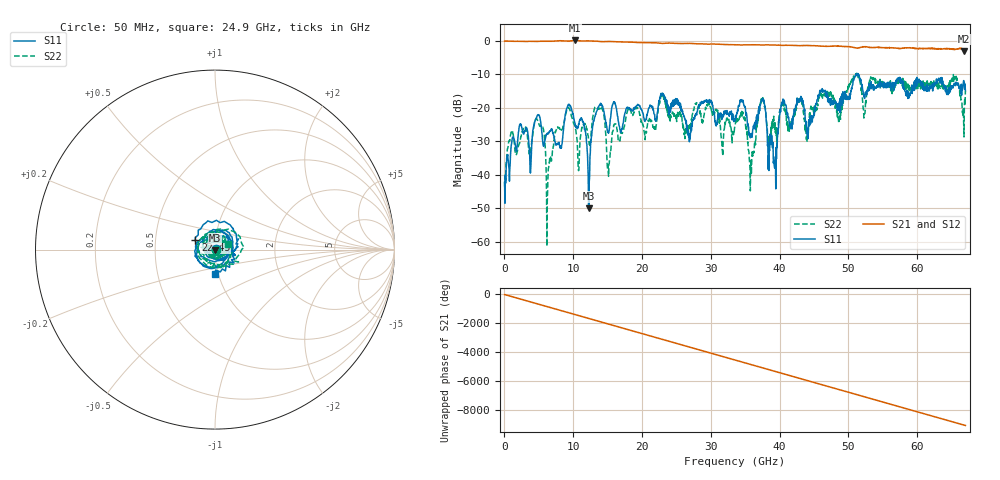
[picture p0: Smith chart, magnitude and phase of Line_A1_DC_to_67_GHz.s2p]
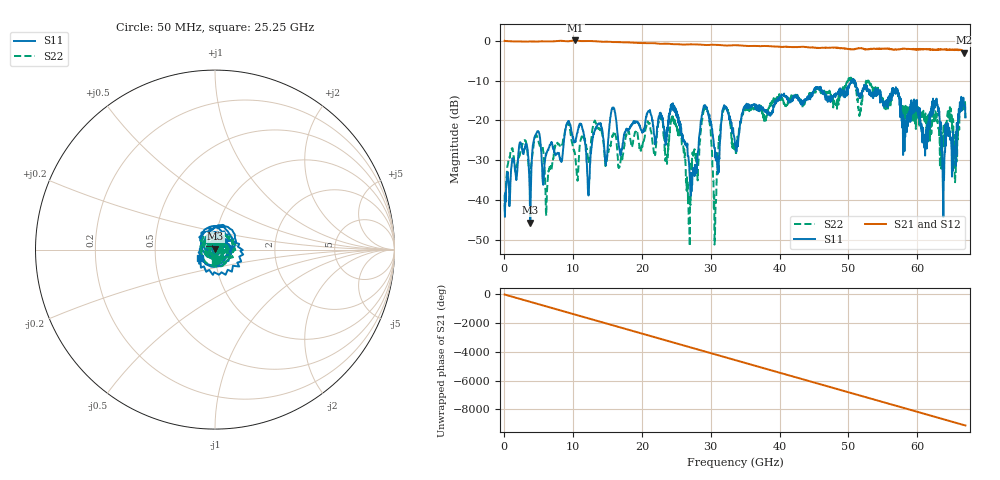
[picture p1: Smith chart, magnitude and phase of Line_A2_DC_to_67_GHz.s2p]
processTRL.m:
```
close all; clear; clc; addpath(genpath(fullfile([pwd '\Uni' '\research' '\ISS 104-783 measurement'])))
s = settings;
s.matlab.appearance.figure.GraphicsTheme.TemporaryValue = "light";

%% Initialization
% calibration Thru measured physical length
ThruLength = 200e-6;

% verification Line{1..5} nominal physical lengths from datasheet
Line1Length = 446e-6;
Line2Length = 896e-6;
Line3Length = 1796e-6;
Line4Length = 3496e-6;
Line5Length = 5246e-6;

% correction of lengths due to the vertical overtravel of probes during
% measurement resulting in a horizontal skate of probes
% - overtravel value recommended in the ISS datasheet: 75-125 um
% - skate value recommended in the ISS datasheet: 33 um
skate = 35e-6;
ThruLength =  ThruLength - 2*skate;
Line1Length = Line1Length - 2*skate;
Line2Length = Line2Length - 2*skate;
Line3Length = Line3Length - 2*skate;
Line4Length = Line4Length - 2*skate;
Line5Length = Line5Length - 2*skate;

% Line lengths minus Thru length
L = [ThruLength; Line1Length; Line2Length; Line3Length; Line4Length; Line5Length] - ThruLength;

%% Measurement data
% Thru measurement
[freq, ThruMeas] = SXPParse(fullfile('absorber', 'Thru_A1_DC_to_67_GHz.s2p'));

% Reflect measurement and parameters
[~, OpenMeas] = SXPParse(fullfile('absorber', 'Open_DC_to_67_GHz.s2p'));
[~, ShortMeas] = SXPParse(fullfile('absorber', 'Short_A1_DC_to_67_GHz.s2p'));
ReflectMeas = ShortMeas;
ReflectModel = -1;
ReflectOffset = -ThruLength/2;      % reference plane in the center of Thru

% Lines measurement
[~, Line1Meas] = SXPParse(fullfile('absorber', 'Line_A1_DC_to_67_GHz.s2p'));
[~, Line2Meas] = SXPParse(fullfile('absorber', 'Line_A2_DC_to_67_GHz.s2p'));
[~, Line3Meas] = SXPParse(fullfile('absorber', 'Line_A3_DC_to_67_GHz.s2p'));
[~, Line4Meas] = SXPParse(fullfile('absorber', 'Line_A4_DC_to_67_GHz.s2p'));
[~, Line5Meas] = SXPParse(fullfile('absorber', 'Line_A5_DC_to_67_GHz.s2p'));
LinesMeas = cat(4, ThruMeas, Line1Meas, Line2Meas, Line3Meas, Line4Meas, Line5Meas);

% Match measurement for calibration verifiaction
[~, MatchMeas] = SXPParse(fullfile('absorber', 'Match_A1_DC_to_67_GHz.s2p'));

%% TRL calibration
% error boxes for all Lines combinations
[allEa, allEb, propConst, EPD, lineComb, dL, reflectSol, epsEff] = ...
   mTRL(LinesMeas, L, ReflectMeas, ReflectModel, freq, 'm', ReflectOffset);

% Match and Open calibration with all combinations of error boxes
MatchAllCal = calibrate2PortSParDUT(allEa, allEb, MatchMeas);
OpenAllCal = calibrate2PortSParDUT(allEa, allEb, OpenMeas);

% weighted mean of all calibrated combinations
weights = sin(EPD).*(dL.').^2;
MatchCal = wMeanSPar(MatchAllCal, weights);
OpenCal = wMeanSPar(OpenAllCal, weights);

%% Figures
% legend for all combinations of Lines
lineCombLegend = sprintf('%d-%d\n', lineComb.');
lineCombLegend = strsplit(lineCombLegend, '\n');
lineCombLegend(end) = [];

% Reflect model for all line combinations (choose using the mouse wheel)
figure('Name', 'Calibrated Reflect Options')
inspectReflectSolutions(reflectSol, freq, lineComb, 'Calibrated Reflect Options')

% Error box A S-parameters
figure('Name', 'Error box A')
showXPortParameters({freq}, convert4DSparToCell(allEa), 'Title', 'Error box A')

% Error box B S-parameters
figure('Name', 'Error box B')
showXPortParameters({freq}, convert4DSparToCell(allEb), 'Title', 'Error box B')

% Propagation constant
% the longer the line difference, the more precise results we obtain
plotPropagationConst(freq, propConst, lineComb, dL, 'Propagation constant')

% Effective Phase Delay
figure('Name', 'Effective Phase Delay')
plot(freq*1e-9, EPD)
title('Effective Phase Delay')
grid on
xlabel('freq (GHz)')
ylabel('EPD')
legend(lineCombLegend)

% Effective Permittivity
figure('Name', 'Effective Permittivity')
plot(freq*1e-9, epsEff)
title('Effective Permittivity')
grid on
xlabel('freq (GHz)')
ylabel('\epsilon_{eff}')
legend(lineCombLegend)
ylim([0 10])

% Calibrated Match S-parameters for all Line combinations
figure('Name', 'Calibrated Match - all combinations')
showXPortParameters({freq}, convert4DSparToCell(MatchAllCal), ...
    'Title', 'Calibrated Match - all combinations')

% Calibrated Match S-parameters for the weighted average
figure('Name', 'Calibrated Match - weighted mean')
showXPortParameters({freq}, {MatchCal}, ...
    'Title', 'Calibrated Match - weighted mean')

% Calibrated Open S-parameters for all Line combinations
figure('Name', 'Calibrated Open - all combinations')
showXPortParameters({freq}, convert4DSparToCell(OpenAllCal), ...
    'Title', 'Calibrated Open - all combinations')

% Calibrated Open S-parameters for the weighted average
figure('Name', 'Calibrated Open - weighted mean')
showXPortParameters({freq}, {OpenCal}, ...
    'Title', 'Calibrated Open - weighted mean')
```
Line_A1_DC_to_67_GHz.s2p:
#  HZ  S  MA  R  50.00
! Rohde & Schwarz ZVA67 4Ports - Version 4.11 - 1305.7002k04 SN: 101051
! Date: 2023-05-31 14:23:48
! Measurements: S11 S21 S12 S22
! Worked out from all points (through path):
!   1340 points, 50 MHz to 67 GHz, reference 50 ohm
!   highest |S21| = 0.14 dB at 10.3 GHz (marker M1); lowest = -3.0 dB at 66.85 GHz (marker M2)
!   group delay of S21, straight-line fit = 375 ps
!   lowest |S11| = -50.0 dB at 12.25 GHz (marker M3), VSWR 1.01, Z = 50.1 - j0.285 ohm
!   |S11| at or under -10 dB: start of sweep to 51.13 GHz; 51.17318 GHz to 51.23518 GHz (62 MHz wide, 0.121 % of centre); 51.43 GHz to end of sweep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
!   |S22| runs from -61.3 to -9.7 dB; largest |S21 - S12| = 0.3
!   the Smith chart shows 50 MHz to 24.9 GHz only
!   S11 on the Smith chart (normalised r, x): 50 MHz: 1.01, +0.01; 22.45 GHz: 0.80, +0.09; 24.9 GHz: 0.96, -0.27
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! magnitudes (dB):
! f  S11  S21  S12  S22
! 50 MHz  -42.3  0.0  -0.1  -42.2
! 10.3 GHz  -24.7  0.1  0.2  -25.6
! 12.25 GHz  -50.0  0.0  0.0  -29.5
! 13.85 GHz  -19.1  -0.2  -0.2  -20.1
! 15.2 GHz  -27.1  -0.1  -0.2  -36.9
! 22.45 GHz  -18.3  -0.7  -0.7  -19.2
! 24.9 GHz  -17.2  -0.7  -0.7  -22.3
! 33.55 GHz  -23.8  -1.1  -1.2  -25.3
! 39.25 GHz  -37.7  -1.2  -1.3  -24.4
! 66.85 GHz  -12.5  -3.0  -3.0  -19.5
! 67 GHz  -14.9  -2.8  -2.7  -15.0
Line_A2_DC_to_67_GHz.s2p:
#  HZ  S  MA  R  50.00
! Rohde & Schwarz ZVA67 4Ports - Version 4.11 - 1305.7002k04 SN: 101051
! Date: 2023-05-31 14:24:37
! Measurements: S11 S21 S12 S22
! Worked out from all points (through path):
!   1340 points, 50 MHz to 67 GHz, reference 50 ohm
!   highest |S21| = 0.10 dB at 10.3 GHz (marker M1); lowest = -3.0 dB at 66.8 GHz (marker M2)
!   group delay of S21, straight-line fit = 378 ps
!   lowest |S11| = -45.7 dB at 3.8 GHz (marker M3), VSWR 1.01, Z = 50.1 + j0.511 ohm
!   |S11| at or under -10 dB: start of sweep to 50.4 GHz; 50.40142 GHz to 50.58726 GHz (185.8 MHz wide, 0.368 % of centre); 50.91 GHz to end of sweep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
!   |S22| runs from -51.6 to -9.2 dB; largest |S21 - S12| = 0.3
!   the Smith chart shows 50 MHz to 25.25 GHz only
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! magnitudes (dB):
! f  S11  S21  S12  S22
! 50 MHz  -40.9  0.0  0.0  -38.7
! 3.8 GHz  -45.7  -0.1  -0.2  -33.2
! 10.3 GHz  -25.1  0.1  0.1  -28.7
! 24.5 GHz  -15.7  -0.8  -0.8  -19.0
! 26.8 GHz  -30.0  -0.9  -0.9  -46.0
! 29.15 GHz  -16.2  -1.0  -1.0  -17.2
! 33.55 GHz  -26.2  -1.1  -1.1  -26.5
! 50.6 GHz  -9.9  -2.1  -2.1  -9.8
! 63.85 GHz  -33.2  -2.2  -2.1  -20.8
! 66.8 GHz  -16.0  -3.0  -2.9  -17.1
! 67 GHz  -19.2  -2.8  -2.7  -19.4
